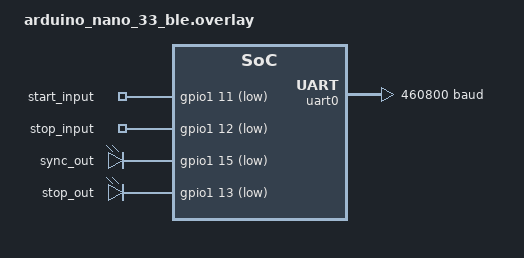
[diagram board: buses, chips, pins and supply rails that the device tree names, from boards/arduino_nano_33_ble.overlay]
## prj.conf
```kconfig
#
# Copyright (c) 2019 Nordic Semiconductor ASA
#
# SPDX-License-Identifier: LicenseRef-Nordic-5-Clause
#
CONFIG_NCS_SAMPLES_DEFAULTS=y
CONFIG_ESB=y
CONFIG_SERIAL=y
CONFIG_UART_ASYNC_API=y
```

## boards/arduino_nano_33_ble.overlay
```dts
// arduino_nano_33_ble.overlay
// Application-specific overrides and definitions

// Change UART baud rate
&uart0 {
    current-speed = <460800>;
};

// Define GPIO inputs and outputs
/ {
	gpio_in {
		compatible = "gpio-keys"; // Inherit gpio-keys properties
		start_in: gpio_start_in {
			gpios = < &gpio1 11 (GPIO_ACTIVE_LOW | GPIO_PULL_UP) >;
			label = "start_input";
		};
		stop_in: gpio_stop_in {
			gpios = < &gpio1 12 (GPIO_ACTIVE_LOW | GPIO_PULL_UP) >;
			label = "stop_input";
		};
	};
	
	gpio_out {
	    compatible = "gpio-leds"; // Inherit gpio-led properties
	    sync_out: gpio_sync_out {
		    gpios = <&gpio1 15 GPIO_ACTIVE_LOW>;
	    };
	    stop_out: gpio_stop_out {
		    gpios = <&gpio1 13 GPIO_ACTIVE_LOW>;
		};
	};
};
```

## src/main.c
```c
 /*
 * Copyright (c) 2018 Nordic Semiconductor ASA
 *
 * SPDX-License-Identifier: LicenseRef-Nordic-5-Clause
 */

/******************************************************************************
 * sync_tx_rtc
 * 02.11.22
 * Send sync packets to OLA.
 * Includes command byte and seven byte RTC value.
 * Written for WMORE Coordinator based on OLA + Arduino Nano. 
 ******************************************************************************/
#include <drivers/clock_control.h>
#include <drivers/clock_control/nrf_clock_control.h>
#include <drivers/gpio.h>
#include <irq.h>
#include <logging/log.h>
#include <nrf.h>
#include <esb.h>
#include <device.h>
#include <devicetree.h>
#include <zephyr.h>
#include <zephyr/types.h>
#include <zephyr/kernel.h>
#include <drivers/uart.h>

//LOG_MODULE_REGISTER(esb_ptx, CONFIG_ESB_PTX_APP_LOG_LEVEL);

#define TX_PAYLOAD_LEN 8 // Command byte plus seven RTC bytes 
#define TX_CMD_SYNC 0 // Sample synchronisation
#define TX_CMD_STOP 1 // Stop sampling
#define SAMPLE_INTERVAL_MS 10
// Lucas Cardoso [30/10/2025] (modification to UNIX time):
// The first and last bytes are not necessary anymore, because we now use the DATA_LEN. I also added SOF.
// The RTC package to send via ESB is now:
// [SOF] [Command byte] [t3] [t2] [t1] [t0] [hh] [CHK]
// in which, 
// [SOF] -> start of message
// [Command byte] -> same as before
// [t3] to [t0] -> UNIX time in uint32_t, from the MSB to the LSB
// [hh] -> hundredths
// [CHK] -> checksum
#define SOF 0xAA // Start-of-frame marker
#define DATA_LEN 5 // [t3] [t2] [t1] [t0] [hh]
#define DEBOUNCE 50000 // Button debounce delay in us

// Define supported boards
#define NANO

// Nodelabels are defined in .dts and .overlay files
#define START_INPUT DT_NODELABEL(start_in)
#define STOP_INPUT DT_NODELABEL(stop_in)
#define SYNC_OUTPUT DT_NODELABEL(sync_out)
#define STOP_OUTPUT DT_NODELABEL(stop_out)
#if defined(NANO)
#define LED0 DT_NODELABEL(led0)
#endif

#define _RADIO_SHORTS_COMMON                                               \
	(RADIO_SHORTS_READY_START_Msk | RADIO_SHORTS_END_DISABLE_Msk |         \
	 RADIO_SHORTS_ADDRESS_RSSISTART_Msk |                                  \
	 RADIO_SHORTS_DISABLED_RSSISTOP_Msk)

// Devicetree data structures
static const struct gpio_dt_spec start_input = GPIO_DT_SPEC_GET(START_INPUT, gpios);
static const struct gpio_dt_spec stop_input = GPIO_DT_SPEC_GET(STOP_INPUT, gpios); // Not used ATM
static const struct gpio_dt_spec sync_output = GPIO_DT_SPEC_GET(SYNC_OUTPUT, gpios);
static const struct gpio_dt_spec stop_output = GPIO_DT_SPEC_GET(STOP_OUTPUT, gpios);
static const struct gpio_dt_spec led = GPIO_DT_SPEC_GET(LED0, gpios);
static const struct device *uart = DEVICE_DT_GET(DT_NODELABEL(uart0));

// Variables ------------------------------------------------------------------

struct k_timer periodic_timer;
bool stop_flag = false; // Stop input asserted.
volatile bool timer_event = false; // Timer flag.
volatile bool uart_event = false; // UART has received 5 bytes (Lucas Cardoso [30/10/2025] (modification to UNIX time): changed comment from "7 bytes" to "5 bytes")
//static struct esb_payload rx_payload;
static struct esb_payload tx_payload = ESB_CREATE_PAYLOAD(0,
	0x00,0x00,0x00,0x00,0x00,0x00,0x00,0x00);

// Lucas Cardoso [30/10/2025] (modification to UNIX time):
// Changed the size of the UART buffer. It should expect 5 bytes now
static uint8_t uart_rx_buf[5] = {0};

// Callbacks ------------------------------------------------------------------

// Lucas Cardoso [30/10/2025]: Add function for CRC-8 (Cyclic Redundancy Check)
static inline uint8_t crc8_0x07(const uint8_t *buf, uint8_t len) {
    uint8_t crc = 0x00;
    while (len--) {
        crc ^= *buf++;
        for (uint8_t i = 0; i < 8; i++) {
            crc = (crc & 0x80) ? ((crc << 1) ^ 0x07) : (crc << 1);
        }
    }
    return crc;
}

// ESB callback
void esb_cb(struct esb_evt const *event)
{
	switch (event->evt_id) {
	case ESB_EVENT_TX_SUCCESS:
		//LOG_DBG("TX SUCCESS EVENT");
		break;
	case ESB_EVENT_TX_FAILED:
		//LOG_DBG("TX FAILED EVENT");
		break;
	case ESB_EVENT_RX_RECEIVED:
	    //
		break;
	}
}

// UART callback
static void uart_cb(const struct device *dev, struct uart_event *evt, void *user_data)
{
	switch (evt->type) {
	case UART_TX_DONE:
		// do something
		break;
	case UART_TX_ABORTED:
		// do something
		break;
	case UART_RX_RDY:
		// Should trigger when uart_rx_buf is full
		uart_event = true;
		break;
	case UART_RX_BUF_REQUEST:
		// do something
		break;
	case UART_RX_BUF_RELEASED:
		// do something
		break;
	case UART_RX_DISABLED:
	    // Must re-enable after buffer full
		// 22.12.22 moved this to main loop due to serial sync problem
	    //uart_rx_enable(uart, uart_rx_buf, sizeof uart_rx_buf, SYS_FOREVER_US);
		break;
	case UART_RX_STOPPED:
		// do something
		break;
	default:
		break;
	}
}

// Timer callback
void periodic_timer_cb(struct k_timer *dummy)
{
    timer_event = true;
}

// Functions ------------------------------------------------------------------

// Initialise clocks
int clocks_start(void)
{
	int err;
	int res;
	struct onoff_manager *clk_mgr;
	struct onoff_client clk_cli;

	clk_mgr = z_nrf_clock_control_get_onoff(CLOCK_CONTROL_NRF_SUBSYS_HF);
	if (!clk_mgr) {
		//LOG_ERR("Unable to get the Clock manager");
		return -ENXIO;
	}

	sys_notify_init_spinwait(&clk_cli.notify);

	err = onoff_request(clk_mgr, &clk_cli);
	if (err < 0) {
		//LOG_ERR("Clock request failed: %d", err);
		return err;
	}

	do {
		err = sys_notify_fetch_result(&clk_cli.notify, &res);
		if (!err && res) {
			//LOG_ERR("Clock could not be started: %d", res);
			return res;
		}
	} while (err);

	//LOG_DBG("HF clock started");
	return 0;
}

// Initialise ESB
int esb_initialize(void)
{
	int err;
	/* These are arbitrary default addresses. In end user products
	 * different addresses should be used for each set of devices.
	 */
	//uint8_t base_addr_0[4] = {0xE7, 0xE7, 0xE7, 0xE7};
	//uint8_t base_addr_1[4] = {0xC2, 0xC2, 0xC2, 0xC2};
    uint8_t base_addr_0[2] = {0xE7, 0xE7};
	uint8_t base_addr_1[2] = {0xC2, 0xC2};
	uint8_t addr_prefix[8] = {0xE7, 0xC2, 0xC3, 0xC4, 0xC5, 0xC6, 0xC7, 0xC8};

	struct esb_config config = ESB_DEFAULT_CONFIG;

	//config.protocol = ESB_PROTOCOL_ESB; 
	config.protocol = ESB_PROTOCOL_ESB_DPL; // ESB Dynamic Packet Length
	config.mode = ESB_MODE_PTX;
	config.event_handler = esb_cb;
	//config.bitrate = ESB_BITRATE_1MBPS; 
	config.bitrate = ESB_BITRATE_2MBPS;
    //config.crc = ESB_CRC_OFF; 
	config.crc = ESB_CRC_16BIT;
    config.tx_output_power = ESB_TX_POWER_4DBM;
	config.retransmit_delay = 600;
	config.retransmit_count = 0;
    config.tx_mode = ESB_TXMODE_MANUAL; // packet not sent until esb_start_tx is called
    //config.tx_mode = ESB_TXMODE_AUTO; 
    config.payload_length = TX_PAYLOAD_LEN; 
	//config.selective_auto_ack = false; // disables selective ACK
	config.selective_auto_ack = true; // enables selective ACK
	//config.payload_length = TX_PAYLOAD_LEN;

	err = esb_init(&config);
	if (err) {
		return err;
	}

	err = esb_set_address_length(3); // 3 byte address to reduce transmit time
	if (err) {
		return err;
	}

	err = esb_set_base_address_0(base_addr_0);
	if (err) {
		return err;
	}

	err = esb_set_base_address_1(base_addr_1);
	if (err) {
		return err;
	}

	err = esb_set_prefixes(addr_prefix, ARRAY_SIZE(addr_prefix));
	if (err) {
		return err;
	}

    err = esb_set_rf_channel(0);
	if (err) {
		return err;
	}

	return 0;
}

// Initialise GPIO pins
int pins_init(void)
{
    if (!device_is_ready(start_input.port)) return;
    if (!device_is_ready(stop_input.port)) return; // Not used ATM
    if (!device_is_ready(sync_output.port)) return;
    if (!device_is_ready(stop_output.port)) return;
    if (!device_is_ready(led.port)) return;

    gpio_pin_configure_dt(&start_input, GPIO_INPUT);
    gpio_pin_configure_dt(&stop_input, GPIO_INPUT); // Not used ATM
    gpio_pin_configure_dt(&sync_output, GPIO_OUTPUT_INACTIVE);
    gpio_pin_configure_dt(&stop_output, GPIO_OUTPUT_INACTIVE);	
    gpio_pin_configure_dt(&led, GPIO_OUTPUT_INACTIVE);

    return 0;
}

// Initialise UART
int uart_init(void)
{
	int err = 0;

    uart_callback_set(uart, uart_cb, NULL);
	uart_rx_enable(uart, uart_rx_buf, sizeof uart_rx_buf, SYS_FOREVER_US);

	return 0;
}

// Main -----------------------------------------------------------------------

void main(void)
{
	int err;
    uint8_t i; // Counter for Tx payload bytes

	err = clocks_start();
	if (err) {
		return;
	}

	err = pins_init();
	if (err) {
		return;
	}

	err = esb_initialize();
	if (err) {
		//LOG_ERR("ESB initialization failed, err %d", err);
		return;
	}

	err = uart_init(); 
	if (err) {
		return;
	}	

    k_timer_init(&periodic_timer, periodic_timer_cb, NULL);
    k_timer_start(&periodic_timer, K_MSEC(SAMPLE_INTERVAL_MS), K_MSEC(SAMPLE_INTERVAL_MS));

	//LOG_INF("Initialization complete");
	//LOG_INF("Sending test packet");

	tx_payload.noack = true;

	// Lucas Cardoso [30/10/2025] (modification to UNIX time):
	// Modified the way we initialise tx_payload.data[]
    // Initialise tx_payload.data[]
	for (i = 0; i < DATA_LEN; i++) {
		tx_payload.data[2 + i] = 0;
	}

	while (true) {
	    stop_flag = false;
	//while (stop_flag == false) 
	//{
        while (gpio_pin_get_dt(&start_input) == false); // Wait for button press
		k_busy_wait(DEBOUNCE); // Wait for button to stabilise
        while (gpio_pin_get_dt(&start_input) == true); // Wait for button release
		k_busy_wait(DEBOUNCE); // Wait for button to stabilise		
        while (stop_flag == false) {
	        if (timer_event) {
	            timer_event = false;														
	            esb_flush_tx();                      
                gpio_pin_set_dt(&sync_output, true); // Assert local sync
				// 22.12.22 uart_rx_enable moved here from UART callback due to serial sync problem
				uart_rx_enable(uart, uart_rx_buf, sizeof uart_rx_buf, SYS_FOREVER_US);

				// Lucas Cardoso [30/10/2025] (modification to UNIX time):
				// The below code was modified to change to UNIX time and to include SOF and CHK to the messages

				// Pos 0) SOF
				tx_payload.data[0] = SOF;

				// Pos 1) Command byte
                if (gpio_pin_get_dt(&start_input) == false) { // select appropriate Tx command
                    tx_payload.data[1] = TX_CMD_SYNC; // Assert remote sync
                } else {
                    tx_payload.data[1] = TX_CMD_STOP; // Stop remote logging
					gpio_pin_set_dt(&stop_output, true); // Assert local stop
                    stop_flag = true; // Last transmission before end of logging
                }

				// Lucas Cardoso [30/10/2025]: Pos 2 to 6 are filled bellow, after writing the payload
				// I am not sure why, but I will keep the order used in the original code
				// In the first time it runs, the DATA packaged was already initialized with 0's

				// Pos 7) CHK = XOR(SOF + DATA)
				tx_payload.data[TX_PAYLOAD_LEN - 1] = crc8_0x07(tx_payload.data, TX_PAYLOAD_LEN - 1);

	            err = esb_write_payload(&tx_payload);
                if (err) {
	                //LOG_ERR("esb_write_payload() failed, err %d", err);
                }

                err = esb_start_tx(); // required for manual tx mode

                gpio_pin_set_dt(&sync_output, false); // De-assert sync when transmission complete
                if (err) {
		            //LOG_ERR("esb_tx_start() failed, err %d", err);
                }

				while (uart_event != true); // Wait for UART to receive 5 bytes
				uart_event = false;
                
				gpio_pin_set_dt(&led, true); // Turn on LED

				// Pos 2 to 6) DATA bytes
				// Read the RTC value from the OLA via the UART
				for (i = 0; i < DATA_LEN; i++) {
					tx_payload.data[2 + i] = uart_rx_buf[i];
				}

				gpio_pin_set_dt(&led, false); // Turn off LED
            }
	    }
		k_busy_wait(DEBOUNCE); // Wait for button to stabilise
        while (gpio_pin_get_dt(&start_input) == true); // Wait for button release
		k_busy_wait(DEBOUNCE); // Wait for button to stabilise			
		gpio_pin_set_dt(&stop_output, false); // De-assert local stop
    }
	// Power saving
	//k_timer_stop(&periodic_timer); // Stop the timer
	// ToDo: Turn off ESB and UART
	//k_cpu_idle(); // Put CPU to sleep - power cycle to resume
}
```
